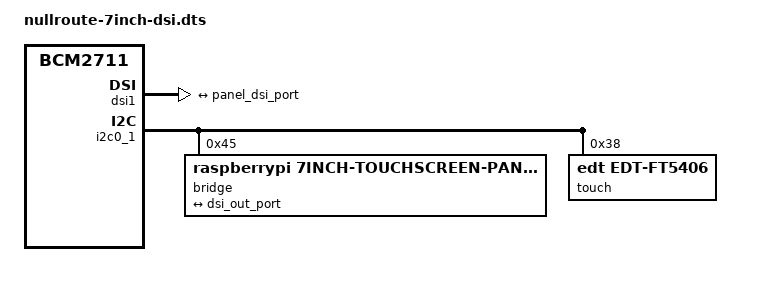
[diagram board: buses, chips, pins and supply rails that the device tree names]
/dts-v1/;
/plugin/;

/*
 * The official Raspberry Pi 7 inch DSI touchscreen, described for a MAINLINE
 * device tree.
 *
 * WHY THIS FILE EXISTS. The panel is the display this product is built around
 * and it was not switched on. Decompiling the device tree the image ships says
 * dsi@7e700000 is disabled, no node describes the panel, and no node describes
 * its touch controller, while the GPU node is already enabled. So cage starts,
 * finds a card, and draws onto nothing.
 *
 * WHY IT IS WRITTEN HERE RATHER THAN TAKEN FROM RASPBERRY PI. Debian ships
 * mainline device trees. Raspberry Pi's own overlay is written against their
 * downstream tree and its labels, and neither pinned package carries any Pi
 * overlay at all: raspi-firmware has hifiberry-dac and pi4-spidev, and the
 * kernel's forty eight are TI, MediaTek, Renesas and Rockchip. Taking their
 * archive would mean swapping the kernel this image is built and verified
 * against, which invalidates the module pruning, the verity chain, the
 * initramfs and the boot test, to fix a screen. This is one file we can read.
 *
 * EVERY NAME BELOW WAS READ OUT OF THE ARTIFACT, not remembered:
 *
 *   dsi1        __symbols__ says /soc/dsi@7e700000, and the tree carries
 *               __symbols__, so an overlay can target it by label at all.
 *   i2c0_1      /i2c-mux0/i2c@1. The mux is i2c-mux-pinctrl with branches named
 *               i2c0 and i2c0-vc; branch 0 takes pinctrl-0 = i2c0-gpio0
 *               (phandle 0x2b, the HAT bus) and branch 1 takes pinctrl-1 =
 *               i2c0-gpio44 (phandle 0x2c). GPIO 44/45 is the CSI/DSI
 *               connector, so this branch is mainline's i2c_csi_dsi.
 *   the two compatible strings come from modules.alias in the image:
 *               panel_raspberrypi_touchscreen binds
 *               raspberrypi,7inch-touchscreen-panel, and edt_ft5x06 binds
 *               edt,edt-ft5406. rpi_ft5406 is not in this image, so the
 *               mainline i2c path is the only one there is.
 *
 * WHAT IS STILL UNPROVEN. That the panel lights up. Nothing in this repository
 * can boot a DSI panel: QEMU -M virt has no such connector. INV-PROV-25 checks
 * that the overlay is named and shipped; the hardware is what checks the rest.
 *
 * PI 4 ONLY, and not by choice. Debian's bcm2712-rpi-5-b.dtb has fifteen device
 * nodes to the Pi 4's seventy four and contains no DSI anything, so there is
 * nothing on a Pi 5 for this to attach to. See `boards:` in the profile.
 */

/ {
	compatible = "brcm,bcm2711";

	/* The DSI host the panel hangs off, which ships disabled. */
	fragment@0 {
		target = <&dsi1>;
		__overlay__ {
			/* No #address-cells here: the panel is not a DSI child node. It
			   hangs off the connector's I2C and is joined to this host by the
			   endpoint below, so declaring them made dtc warn about cells
			   with nothing to address. */
			status = "okay";

			port {
				dsi_out_port: endpoint {
					remote-endpoint = <&panel_dsi_port>;
				};
			};
		};
	};

	/*
	 * The panel's bridge and its touch controller, both on the connector's
	 * I2C. The bridge at 0x45 is the ATTINY that powers the panel; the touch
	 * controller at 0x38 is an FT5406.
	 */
	fragment@1 {
		target = <&i2c0_1>;
		__overlay__ {
			#address-cells = <1>;
			#size-cells = <0>;
			status = "okay";

			bridge@45 {
				compatible = "raspberrypi,7inch-touchscreen-panel";
				reg = <0x45>;

				port {
					panel_dsi_port: endpoint {
						remote-endpoint = <&dsi_out_port>;
					};
				};
			};

			touch@38 {
				compatible = "edt,edt-ft5406";
				reg = <0x38>;
			};
		};
	};
};
